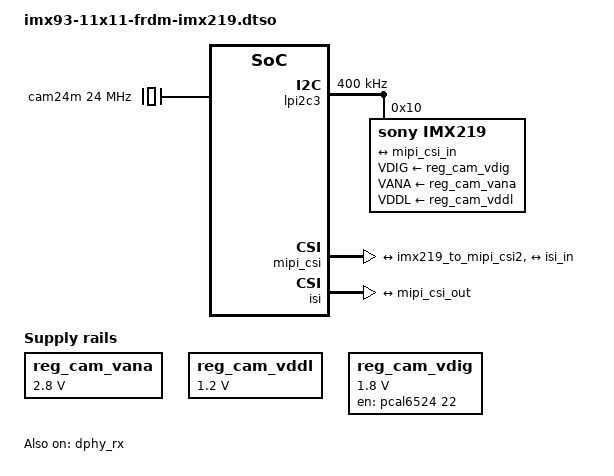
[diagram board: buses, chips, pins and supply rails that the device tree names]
// SPDX-License-Identifier: (GPL-2.0+ OR MIT)
/*
 * Copyright 2025 NXP
 *
 * Device tree overlay for Sony IMX219 camera on i.MX93 FRDM board
 */

/dts-v1/;
/plugin/;

#include "imx93-pinfunc.h"
#include <dt-bindings/gpio/gpio.h>
#include <dt-bindings/media/video-interfaces.h>

&{/} {
	/* 24MHz reference clock for IMX219 */
	cam24m: cam24m {
		compatible = "fixed-clock";
		#clock-cells = <0>;
		clock-frequency = <24000000>;
		clock-output-names = "cam24m";
	};

	/* VANA: Analog power 2.8V */
	reg_cam_vana: regulator-cam-vana {
		compatible = "regulator-fixed";
		regulator-name = "cam_vana";
		regulator-min-microvolt = <2800000>;
		regulator-max-microvolt = <2800000>;
		regulator-always-on;
	};

	/* VDDL: Digital power 1.2V */
	reg_cam_vddl: regulator-cam-vddl {
		compatible = "regulator-fixed";
		regulator-name = "cam_vddl";
		regulator-min-microvolt = <1200000>;
		regulator-max-microvolt = <1200000>;
		regulator-always-on;
	};

	/* VDIG: I/O power 1.8V - controlled via GPIO (uses freed AP1302 reset pin) */
	reg_cam_vdig: regulator-cam-vdig {
		compatible = "regulator-fixed";
		regulator-name = "cam_vdig";
		gpio = <&pcal6524 22 GPIO_ACTIVE_HIGH>;
		enable-active-high;
		regulator-min-microvolt = <1800000>;
		regulator-max-microvolt = <1800000>;
	};
};

/* Delete AP1302 ISP from base device tree */
/delete-node/ &ap1302;
/delete-node/ &mipi_csi;
/delete-node/ &dphy_rx;

&lpi2c3 {
	#address-cells = <1>;
	#size-cells = <0>;
	clock-frequency = <400000>;

	imx219: imx219@10 {
		compatible = "sony,imx219";
		reg = <0x10>;
		clocks = <&cam24m>;
		clock-names = "xclk";
		VDIG-supply = <&reg_cam_vdig>;
		VANA-supply = <&reg_cam_vana>;
		VDDL-supply = <&reg_cam_vddl>;

		/* Orientation and rotation properties */
		orientation = <2>;
		rotation = <0>;

		port {
			imx219_to_mipi_csi2: endpoint {
				remote-endpoint = <&mipi_csi_in>;
				clock-lanes = <0>;
				data-lanes = <1 2>;
				link-frequencies = /bits/ 64 <456000000>;
			};
		};
	};
};

/* Enable MIPI CSI receiver with IMX219 sensor */
&mipi_csi {
	status = "okay";

	ports {
		#address-cells = <1>;
		#size-cells = <0>;

		port@0 {
			reg = <0>;

			mipi_csi_in: endpoint {
				remote-endpoint = <&imx219_to_mipi_csi2>;
				data-lanes = <1 2>;
				clock-lanes = <0>;
			};
		};

		port@1 {
			reg = <1>;

			mipi_csi_out: endpoint {
				remote-endpoint = <&isi_in>;
			};
		};
	};
};

/* Enable MIPI DPHY receiver */
&dphy_rx {
	status = "okay";
};

/* Enable ISI for image processing */
&isi {
	status = "okay";

	port {
		isi_in: endpoint {
			remote-endpoint = <&mipi_csi_out>;
		};
	};
};
